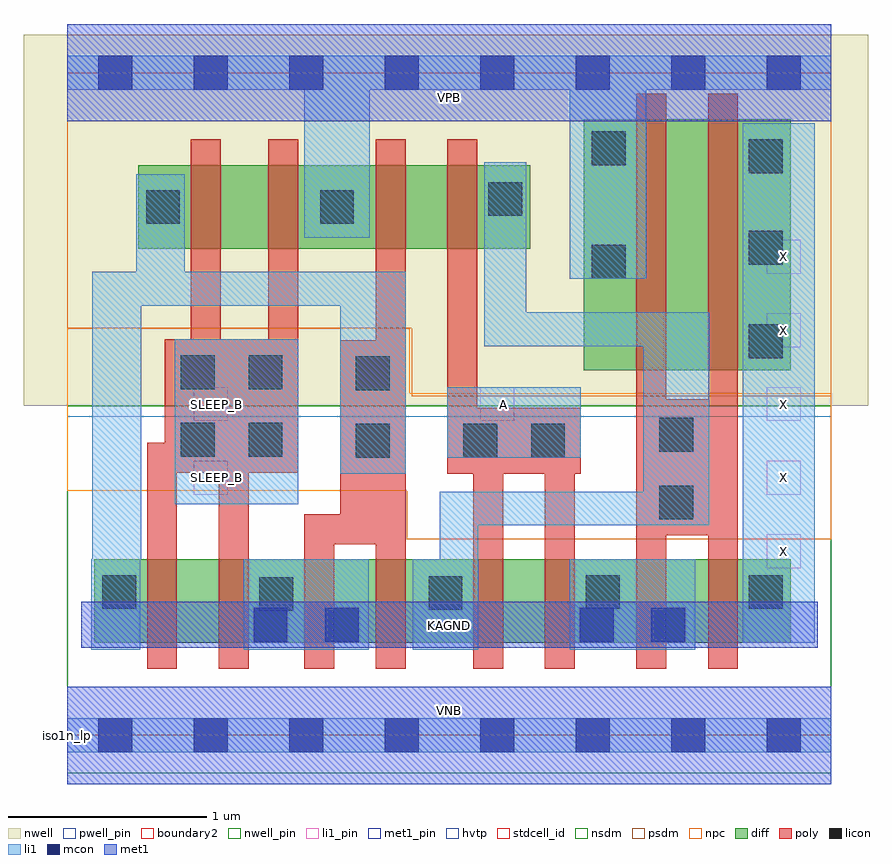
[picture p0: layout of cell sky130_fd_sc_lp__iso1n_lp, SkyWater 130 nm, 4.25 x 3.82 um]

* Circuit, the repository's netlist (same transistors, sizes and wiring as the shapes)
* Copyright 2020 The SkyWater PDK Authors
*
* Licensed under the Apache License, Version 2.0 (the "License");
* you may not use this file except in compliance with the License.
* You may obtain a copy of the License at
*
*     https://www.apache.org/licenses/LICENSE-2.0
*
* Unless required by applicable law or agreed to in writing, software
* distributed under the License is distributed on an "AS IS" BASIS,
* WITHOUT WARRANTIES OR CONDITIONS OF ANY KIND, either express or implied.
* See the License for the specific language governing permissions and
* limitations under the License.
*
* SPDX-License-Identifier: Apache-2.0

.SUBCKT sky130_fd_sc_lp__iso1n_lp A KAGND SLEEP_B VGND VNB VPB VPWR X
*.PININFO A:I KAGND:I SLEEP_B:I VGND:I VNB:I VPB:I VPWR:I X:O
MI23 VPWR sleep sndPA VPB sky130_fd_pr__pfet_01v8_hvt m=1 w=0.42U l=0.15U mult=1
+ sa=0.265 sb=0.265 sd=0.28 area=0.063 perim=1.14
MI8 net59 net75 X VPB sky130_fd_pr__pfet_01v8_hvt m=1 w=1.26U l=0.15U mult=1 sa=0.265
+ sb=0.265 sd=0.28 area=0.063 perim=1.14
MI24 VPWR net75 net59 VPB sky130_fd_pr__pfet_01v8_hvt m=1 w=1.26U l=0.15U mult=1
+ sa=0.265 sb=0.265 sd=0.28 area=0.063 perim=1.14
MMIP0 sleep SLEEP_B net50 VPB sky130_fd_pr__pfet_01v8_hvt m=1 w=0.42U l=0.15U mult=1
+ sa=0.265 sb=0.265 sd=0.28 area=0.063 perim=1.14
MI7 sndPA A net75 VPB sky130_fd_pr__pfet_01v8_hvt m=1 w=0.42U l=0.15U mult=1 sa=0.265
+ sb=0.265 sd=0.28 area=0.063 perim=1.14
MI21 net50 SLEEP_B VPWR VPB sky130_fd_pr__pfet_01v8_hvt m=1 w=0.42U l=0.15U mult=1
+ sa=0.265 sb=0.265 sd=0.28 area=0.063 perim=1.14
MMIN0 sleep SLEEP_B net67 VNB sky130_fd_pr__nfet_01v8 m=1 w=0.42U l=0.15U mult=1
+ sa=0.265 sb=0.265 sd=0.28 area=0.063 perim=1.14
MI27 net91 net75 KAGND VNB sky130_fd_pr__nfet_01v8 m=1 w=0.42U l=0.15U mult=1 sa=0.265
+ sb=0.265 sd=0.28 area=0.063 perim=1.14
MI26 net87 sleep KAGND VNB sky130_fd_pr__nfet_01v8 m=1 w=0.42U l=0.15U mult=1 sa=0.265
+ sb=0.265 sd=0.28 area=0.063 perim=1.14
MI25 net75 A net71 VNB sky130_fd_pr__nfet_01v8 m=1 w=0.42U l=0.15U mult=1 sa=0.265
+ sb=0.265 sd=0.28 area=0.063 perim=1.14
MMIN2 X net75 net91 VNB sky130_fd_pr__nfet_01v8 m=1 w=0.42U l=0.15U mult=1 sa=0.265
+ sb=0.265 sd=0.28 area=0.063 perim=1.14
MI9 net75 sleep net87 VNB sky130_fd_pr__nfet_01v8 m=1 w=0.42U l=0.15U mult=1 sa=0.265
+ sb=0.265 sd=0.28 area=0.063 perim=1.14
MI10 net71 A KAGND VNB sky130_fd_pr__nfet_01v8 m=1 w=0.42U l=0.15U mult=1 sa=0.265
+ sb=0.265 sd=0.28 area=0.063 perim=1.14
MI22 net67 SLEEP_B KAGND VNB sky130_fd_pr__nfet_01v8 m=1 w=0.42U l=0.15U mult=1
+ sa=0.265 sb=0.265 sd=0.28 area=0.063 perim=1.14
.ENDS sky130_fd_sc_lp__iso1n_lp

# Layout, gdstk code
import gdstk
lib = gdstk.Library(unit=1e-6, precision=1e-09)
def R(c, l, rs):  # rectangles x0, y0, x1, y1
    for r in rs: c.add(gdstk.rectangle(r[:2], r[2:], *l))
def A(c, l, x, y, w, h, nx, ny, dx, dy):  # array of equal rectangles
    R(c, l, [(x+i*dx, y+j*dy, x+i*dx+w, y+j*dy+h) for i in range(nx) for j in range(ny)])
def P(c, l, *ps):  # polygons
    for p in ps: c.add(gdstk.Polygon(p, *l))
nwell_pin = (64, 16)
nwell = (64, 20)
diff = (65, 20)
poly = (66, 20)
licon = (66, 44)
li1_pin = (67, 16)
li1 = (67, 20)
mcon = (67, 44)
met1_pin = (68, 16)
met1 = (68, 20)
hvtp = (78, 44)
stdcell_id = (81, 4)
nsdm = (93, 44)
psdm = (94, 20)
npc = (95, 20)
pwell_pin = (122, 16)
boundary2 = (236, 0)

sky130_fd_sc_lp__iso1n_l = lib.new_cell('sky130_fd_sc_lp__iso1n_lp')
R(sky130_fd_sc_lp__iso1n_l, nwell_pin, [(0,3.085,3.84,3.33)])
R(sky130_fd_sc_lp__iso1n_l, nwell, [(-0.22,1.655,4.025,3.52)])
R(sky130_fd_sc_lp__iso1n_l, diff, [(0.135,0.465,3.635,0.885), (2.595,1.835,3.635,3.095), (0.355,2.445,2.325,2.865)])
P(sky130_fd_sc_lp__iso1n_l, poly, [(1.16,2.995),(1.01,2.995),(1.01,1.99),(0.77,1.99),(0.77,2.995),(0.62,2.995),(0.62,1.99),(0.49,1.99),(0.49,1.47),(0.4,1.47),(0.4,0.335),(0.55,0.335),(0.55,1.32),(0.76,1.32),(0.76,0.335),(0.91,0.335),(0.91,1.32),(1.16,1.32)],
  [(1.7,2.995),(1.55,2.995),(1.55,1.985),(1.37,1.985),(1.37,1.11),(1.19,1.11),(1.19,0.335),(1.34,0.335),(1.34,0.96),(1.55,0.96),(1.55,0.335),(1.7,0.335)],
  [(2.58,1.645),(2.06,1.645),(2.06,2.995),(1.91,2.995),(1.91,1.315),(2.04,1.315),(2.04,0.335),(2.19,0.335),(2.19,1.315),(2.4,1.315),(2.4,0.335),(2.55,0.335),(2.55,1.315),(2.58,1.315)],
  [(3.37,3.225),(3.22,3.225),(3.22,1.69),(3.01,1.69),(3.01,3.225),(2.86,3.225),(2.86,0.335),(3.01,0.335),(3.01,1.005),(3.22,1.005),(3.22,0.335),(3.37,0.335)])
R(sky130_fd_sc_lp__iso1n_l, licon, [(0.965,0.625,1.135,0.795), (1.815,0.63,1.985,0.8), (0.175,0.635,0.345,0.805), (2.605,0.635,2.775,0.805), (3.425,0.635,3.595,0.805), (2.975,1.085,3.145,1.255), (1.45,1.395,1.62,1.565), (1.99,1.395,2.16,1.565), (2.33,1.395,2.5,1.565), (0.57,1.4,0.74,1.57), (0.91,1.4,1.08,1.57), (2.975,1.425,3.145,1.595), (1.45,1.735,1.62,1.905), (0.57,1.74,0.74,1.91), (0.91,1.74,1.08,1.91), (3.425,1.895,3.595,2.065), (2.635,2.295,2.805,2.465), (3.425,2.365,3.595,2.535), (0.395,2.57,0.565,2.74), (1.27,2.57,1.44,2.74), (2.115,2.61,2.285,2.78), (3.425,2.825,3.595,2.995), (2.635,2.865,2.805,3.035)])
A(sky130_fd_sc_lp__iso1n_l, li1_pin, 0.635, 1.58, 0.17, 0.17, 3, 1, 1.44, 0)
R(sky130_fd_sc_lp__iso1n_l, li1_pin, [(3.515,0.84,3.685,1.01), (0.635,1.21,0.805,1.38), (3.515,1.21,3.685,1.38), (3.515,1.95,3.685,2.12), (3.515,2.32,3.685,2.49)])
R(sky130_fd_sc_lp__iso1n_l, li1, [(0,-0.085,3.84,0.085), (0.885,0.43,1.515,0.885), (2.525,0.43,3.155,0.885), (3.395,0.465,3.755,3.075), (0.54,1.16,1.16,1.99), (1.91,1.395,2.58,1.75)])
P(sky130_fd_sc_lp__iso1n_l, li1, [(1.7,2.33),(0.59,2.33),(0.59,2.82),(0.345,2.82),(0.345,2.33),(0.125,2.33),(0.125,0.885),(0.12,0.885),(0.12,0.43),(0.365,0.43),(0.365,0.885),(0.37,0.885),(0.37,2.16),(1.37,2.16),(1.37,1.315),(1.7,1.315)],
  [(3.225,2.125),(2.305,2.125),(2.305,2.88),(2.095,2.88),(2.095,1.955),(2.895,1.955),(2.895,1.225),(1.87,1.225),(1.87,0.885),(1.735,0.885),(1.735,0.43),(2.065,0.43),(2.065,1.055),(3.225,1.055)],
  [(3.84,3.415),(0,3.415),(0,3.245),(1.19,3.245),(1.19,2.5),(1.52,2.5),(1.52,3.245),(2.525,3.245),(2.525,2.295),(2.91,2.295),(2.91,3.245),(3.84,3.245)])
A(sky130_fd_sc_lp__iso1n_l, mcon, 0.155, -0.085, 0.17, 0.17, 8, 2, 0.48, 3.33)
R(sky130_fd_sc_lp__iso1n_l, mcon, [(0.935,0.47,1.105,0.64), (1.295,0.47,1.465,0.64), (2.575,0.47,2.745,0.64), (2.935,0.47,3.105,0.64)])
R(sky130_fd_sc_lp__iso1n_l, met1_pin, [(0,0,3.84,0.245), (0.07,0.44,3.77,0.67), (0,3.085,3.84,3.33)])
R(sky130_fd_sc_lp__iso1n_l, met1, [(0,-0.245,3.84,0.245), (0.07,0.44,3.77,0.67), (0,3.085,3.84,3.575)])
R(sky130_fd_sc_lp__iso1n_l, hvtp, [(0,1.6,3.84,3.33)])
R(sky130_fd_sc_lp__iso1n_l, stdcell_id, [(0,0,3.84,3.33)])
R(sky130_fd_sc_lp__iso1n_l, nsdm, [(0,-0.19,3.84,1.655)])
P(sky130_fd_sc_lp__iso1n_l, psdm, [(3.84,3.52),(0,3.52),(0,2.045),(1.73,2.045),(1.73,1.705),(3.84,1.705)])
P(sky130_fd_sc_lp__iso1n_l, npc, [(3.84,1.72),(1.72,1.72),(1.72,2.045),(0,2.045),(0,1.23),(1.705,1.23),(1.705,0.985),(3.84,0.985)])
R(sky130_fd_sc_lp__iso1n_l, pwell_pin, [(0,0,3.84,0.245)])
R(sky130_fd_sc_lp__iso1n_l, boundary2, [(0,0,3.84,3.33)])
sky130_fd_sc_lp__iso1n_l.add(gdstk.Label('X', (3.6,0.925), layer=67, texttype=5))
sky130_fd_sc_lp__iso1n_l.add(gdstk.Label('X', (3.6,2.405), layer=67, texttype=5))
sky130_fd_sc_lp__iso1n_l.add(gdstk.Label('X', (3.6,2.035), layer=67, texttype=5))
sky130_fd_sc_lp__iso1n_l.add(gdstk.Label('X', (3.6,1.295), layer=67, texttype=5))
sky130_fd_sc_lp__iso1n_l.add(gdstk.Label('SLEEP_B', (0.75,1.665), layer=67, texttype=5))
sky130_fd_sc_lp__iso1n_l.add(gdstk.Label('X', (3.6,1.665), layer=67, texttype=5))
sky130_fd_sc_lp__iso1n_l.add(gdstk.Label('A', (2.19,1.665), layer=67, texttype=5))
sky130_fd_sc_lp__iso1n_l.add(gdstk.Label('SLEEP_B', (0.75,1.295), layer=67, texttype=5))
sky130_fd_sc_lp__iso1n_l.add(gdstk.Label('VNB', (1.92,0.123), layer=64, texttype=59))
sky130_fd_sc_lp__iso1n_l.add(gdstk.Label('VPB', (1.92,3.208), layer=64, texttype=5))
sky130_fd_sc_lp__iso1n_l.add(gdstk.Label('iso1n_lp', (0,0), layer=83, texttype=44))
sky130_fd_sc_lp__iso1n_l.add(gdstk.Label('KAGND', (1.92,0.553), layer=68, texttype=5))
sky130_fd_sc_lp__iso1n_l.add(gdstk.Label('VPWR', (1.92,3.21), layer=68, texttype=5))
sky130_fd_sc_lp__iso1n_l.add(gdstk.Label('VGND', (1.92,0.125), layer=68, texttype=5))

lib.write_gds('sky130_fd_sc_lp__iso1n_lp.gds')
